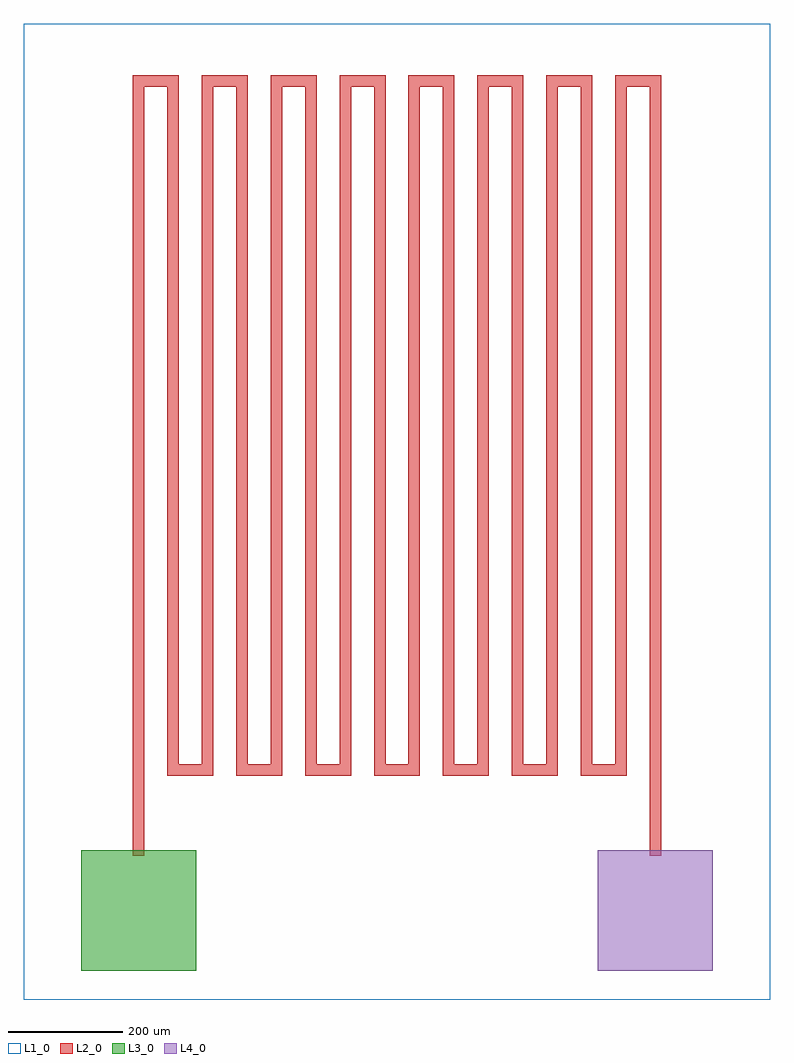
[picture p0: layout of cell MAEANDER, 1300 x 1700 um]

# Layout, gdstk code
import gdstk
lib = gdstk.Library(unit=1e-6, precision=1e-09)
def R(c, l, rs):  # rectangles x0, y0, x1, y1
    for r in rs: c.add(gdstk.rectangle(r[:2], r[2:], *l))
L1_0 = (1, 0)
L2_0 = (2, 0)
L3_0 = (3, 0)
L4_0 = (4, 0)

maeander = lib.new_cell('MAEANDER')
R(maeander, L1_0, [(-200,-400,1100,1300)])
R(maeander, L3_0, [(-100,-350,100,-140)])
R(maeander, L4_0, [(800,-350,1000,-140)])
maeander.add(gdstk.FlexPath([(0,-150),(0,0),(0,1200),(60,1200),(60,0),(120,0),(120,1200),(180,1200),(180,0),(240,0),(240,1200),(300,1200),(300,0),(360,0),(360,1200),(420,1200),(420,0),(480,0),(480,1200),(540,1200),(540,0),(600,0),(600,1200),(660,1200),(660,0),(720,0),(720,1200),(780,1200),(780,0),(840,0),(840,1200),(900,1200),(900,0),(900,-150)], 20, ends="flush", simple_path=True, layer=2, datatype=0))  # L2_0

lib.write_gds('MAEANDER.gds')
